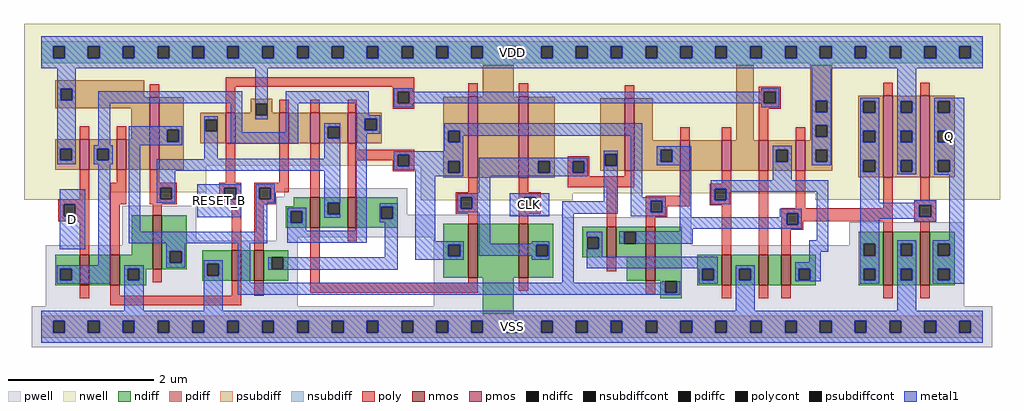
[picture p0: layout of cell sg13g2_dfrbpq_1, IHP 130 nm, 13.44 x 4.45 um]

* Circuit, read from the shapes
.subckt sg13g2_dfrbpq_1 CLK VSS D Q VDD RESET_B
XM1 n1 D n2 VSS sg13_lv_nmos w=0.42u l=0.13u
XM2 VSS RESET_B n1 VSS sg13_lv_nmos w=0.42u l=0.13u
XM3 n3 n4 VSS VSS sg13_lv_nmos w=0.74u l=0.13u
XM4 n5 RESET_B VSS VSS sg13_lv_nmos w=0.42u l=0.13u
XM5 n6 n3 n5 VSS sg13_lv_nmos w=0.42u l=0.13u
XM6 n4 n7 n2 VSS sg13_lv_nmos w=0.42u l=0.13u
XM7 n6 n8 n4 VSS sg13_lv_nmos w=0.42u l=0.13u
XM8 VSS n7 n8 VSS sg13_lv_nmos w=0.74u l=0.13u
XM9 n7 CLK VSS VSS sg13_lv_nmos w=0.74u l=0.13u
XM10 n9 n7 n10 VSS sg13_lv_nmos w=0.42u l=0.13u
XM11 n3 n8 n9 VSS sg13_lv_nmos w=0.74u l=0.13u
XM12 VSS n11 n10 VSS sg13_lv_nmos w=0.42u l=0.13u
XM13 n12 RESET_B VSS VSS sg13_lv_nmos w=0.42u l=0.13u
XM14 n11 n9 n12 VSS sg13_lv_nmos w=0.42u l=0.13u
XM15 VSS n9 n13 VSS sg13_lv_nmos w=0.74u l=0.13u
XM16 Q n13 VSS VSS sg13_lv_nmos w=0.74u l=0.13u
XM17 n2 D VDD VDD sg13_lv_pmos w=0.42u l=0.13u
XM18 VDD RESET_B n2 VDD sg13_lv_pmos w=0.42u l=0.13u
XM19 n3 n4 VDD VDD sg13_lv_pmos w=1u l=0.13u
XM20 VDD RESET_B n4 VDD sg13_lv_pmos w=0.42u l=0.13u
XM21 n14 n3 VDD VDD sg13_lv_pmos w=0.42u l=0.13u
XM22 n4 n7 n14 VDD sg13_lv_pmos w=0.42u l=0.13u
XM23 n2 n8 n4 VDD sg13_lv_pmos w=0.42u l=0.13u
XM24 VDD n7 n8 VDD sg13_lv_pmos w=1.12u l=0.13u
XM25 n7 CLK VDD VDD sg13_lv_pmos w=1.12u l=0.13u
XM26 n9 n7 n3 VDD sg13_lv_pmos w=1u l=0.13u
XM27 n15 n8 n9 VDD sg13_lv_pmos w=0.42u l=0.13u
XM28 VDD n11 n15 VDD sg13_lv_pmos w=0.42u l=0.13u
XM29 n11 RESET_B VDD VDD sg13_lv_pmos w=0.42u l=0.13u
XM30 VDD n9 n11 VDD sg13_lv_pmos w=0.42u l=0.13u
XM31 VDD n9 n13 VDD sg13_lv_pmos w=1.12u l=0.13u
XM32 Q n13 VDD VDD sg13_lv_pmos w=1.12u l=0.13u
.ends

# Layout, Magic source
magic
tech ihp-sg13g2
magscale 1 2
<< nwell >>
rect -48 443 2640 834
rect -48 370 454 443
rect -48 350 187 370
rect 1044 367 2640 443
rect 1044 348 1463 367
rect 2131 350 2640 367
<< pwell >>
rect 669 358 1008 382
rect 223 237 426 333
rect 647 309 1008 358
rect 647 301 1435 309
rect 647 246 1790 301
rect 647 237 706 246
rect 223 224 706 237
rect 12 56 706 224
rect 1081 224 1790 246
rect 2225 224 2541 288
rect 1081 56 2541 224
rect -26 -56 2618 56
<< nmos >>
rect 106 114 132 198
rect 190 114 216 198
rect 306 159 332 307
rect 741 272 767 356
rect 843 272 869 356
rect 524 127 550 211
rect 586 127 612 211
rect 1175 135 1201 283
rect 1315 135 1341 283
rect 1557 191 1583 275
rect 1664 127 1690 275
rect 1874 114 1900 198
rect 1976 114 2002 198
rect 2038 114 2064 198
rect 2319 114 2345 262
rect 2421 114 2447 262
<< pmos >>
rect 106 432 132 516
rect 208 432 234 516
rect 298 432 324 632
rect 508 505 534 589
rect 655 505 681 589
rect 741 505 767 589
rect 843 505 869 589
rect 1175 410 1201 634
rect 1315 410 1341 634
rect 1607 429 1633 629
rect 1759 429 1785 513
rect 1874 429 1900 513
rect 1976 429 2002 513
rect 2078 429 2104 513
rect 2319 412 2345 636
rect 2421 412 2447 636
<< ndiff >>
rect 249 198 306 307
rect 38 160 106 198
rect 38 128 52 160
rect 84 128 106 160
rect 38 114 106 128
rect 132 114 190 198
rect 216 160 306 198
rect 216 128 238 160
rect 270 159 306 160
rect 332 208 400 307
rect 695 332 741 356
rect 673 318 741 332
rect 673 286 687 318
rect 719 286 741 318
rect 673 272 741 286
rect 767 342 843 356
rect 767 310 789 342
rect 821 310 843 342
rect 767 272 843 310
rect 869 330 982 356
rect 869 298 936 330
rect 968 298 982 330
rect 869 272 982 298
rect 332 176 354 208
rect 386 176 400 208
rect 332 159 400 176
rect 443 173 524 211
rect 270 128 289 159
rect 216 114 289 128
rect 443 141 457 173
rect 489 141 524 173
rect 443 127 524 141
rect 550 127 586 211
rect 612 191 680 211
rect 612 159 634 191
rect 666 159 680 191
rect 612 127 680 159
rect 1107 226 1175 283
rect 1107 194 1121 226
rect 1153 194 1175 226
rect 1107 135 1175 194
rect 1201 135 1315 283
rect 1341 226 1409 283
rect 1341 194 1363 226
rect 1395 194 1409 226
rect 1341 135 1409 194
rect 1489 247 1557 275
rect 1489 215 1503 247
rect 1535 215 1557 247
rect 1489 191 1557 215
rect 1583 261 1664 275
rect 1583 229 1605 261
rect 1637 229 1664 261
rect 1583 191 1664 229
rect 1215 36 1301 135
rect 1612 127 1664 191
rect 1690 127 1764 275
rect 2251 228 2319 262
rect 1704 125 1764 127
rect 1704 93 1718 125
rect 1750 93 1764 125
rect 1806 160 1874 198
rect 1806 128 1820 160
rect 1852 128 1874 160
rect 1806 114 1874 128
rect 1900 160 1976 198
rect 1900 128 1922 160
rect 1954 128 1976 160
rect 1900 114 1976 128
rect 2002 114 2038 198
rect 2064 160 2132 198
rect 2064 128 2086 160
rect 2118 128 2132 160
rect 2064 114 2132 128
rect 2251 196 2265 228
rect 2297 196 2319 228
rect 2251 160 2319 196
rect 2251 128 2265 160
rect 2297 128 2319 160
rect 2251 114 2319 128
rect 2345 228 2421 262
rect 2345 196 2367 228
rect 2399 196 2421 228
rect 2345 160 2421 196
rect 2345 128 2367 160
rect 2399 128 2421 160
rect 2345 114 2421 128
rect 2447 228 2515 262
rect 2447 196 2469 228
rect 2501 196 2515 228
rect 2447 160 2515 196
rect 2447 128 2469 160
rect 2501 128 2515 160
rect 2447 114 2515 128
rect 1704 78 1764 93
<< pdiff >>
rect 38 656 283 679
rect 38 624 53 656
rect 85 632 283 656
rect 85 624 298 632
rect 38 602 298 624
rect 248 516 298 602
rect 38 490 106 516
rect 38 458 52 490
rect 84 458 106 490
rect 38 432 106 458
rect 132 490 208 516
rect 132 458 154 490
rect 186 458 208 490
rect 132 432 208 458
rect 234 432 298 516
rect 324 542 392 632
rect 576 614 636 628
rect 576 589 590 614
rect 324 510 346 542
rect 378 510 392 542
rect 324 432 392 510
rect 438 570 508 589
rect 438 538 452 570
rect 484 538 508 570
rect 438 505 508 538
rect 534 582 590 589
rect 622 589 636 614
rect 1215 634 1301 720
rect 622 582 655 589
rect 534 505 655 582
rect 681 505 741 589
rect 767 551 843 589
rect 767 519 789 551
rect 821 519 843 551
rect 767 505 843 519
rect 869 573 937 589
rect 869 541 891 573
rect 923 541 937 573
rect 869 505 937 541
rect 1106 540 1175 634
rect 1106 508 1120 540
rect 1152 508 1175 540
rect 1106 456 1175 508
rect 1106 424 1120 456
rect 1152 424 1175 456
rect 1106 410 1175 424
rect 1201 410 1315 634
rect 1341 456 1414 634
rect 1539 475 1607 629
rect 1341 424 1368 456
rect 1400 424 1414 456
rect 1341 410 1414 424
rect 1539 443 1553 475
rect 1585 443 1607 475
rect 1539 429 1607 443
rect 1633 513 1683 629
rect 1914 513 1962 720
rect 2118 623 2178 720
rect 2118 591 2132 623
rect 2164 591 2178 623
rect 2118 555 2178 591
rect 2118 523 2132 555
rect 2164 523 2178 555
rect 2118 513 2178 523
rect 1633 487 1759 513
rect 1633 455 1705 487
rect 1737 455 1759 487
rect 1633 429 1759 455
rect 1785 429 1874 513
rect 1900 429 1976 513
rect 2002 487 2078 513
rect 2002 455 2024 487
rect 2056 455 2078 487
rect 2002 429 2078 455
rect 2104 487 2178 513
rect 2104 455 2132 487
rect 2164 455 2178 487
rect 2104 429 2178 455
rect 2250 621 2319 636
rect 2250 589 2264 621
rect 2296 589 2319 621
rect 2250 540 2319 589
rect 2250 508 2264 540
rect 2296 508 2319 540
rect 2250 459 2319 508
rect 2250 427 2264 459
rect 2296 427 2319 459
rect 2250 412 2319 427
rect 2345 621 2421 636
rect 2345 589 2367 621
rect 2399 589 2421 621
rect 2345 540 2421 589
rect 2345 508 2367 540
rect 2399 508 2421 540
rect 2345 459 2421 508
rect 2345 427 2367 459
rect 2399 427 2421 459
rect 2345 412 2421 427
rect 2447 621 2515 636
rect 2447 589 2469 621
rect 2501 589 2515 621
rect 2447 540 2515 589
rect 2447 508 2469 540
rect 2501 508 2515 540
rect 2447 459 2515 508
rect 2447 427 2469 459
rect 2501 427 2515 459
rect 2447 412 2515 427
<< ndiffc >>
rect 52 128 84 160
rect 238 128 270 160
rect 687 286 719 318
rect 789 310 821 342
rect 936 298 968 330
rect 354 176 386 208
rect 457 141 489 173
rect 634 159 666 191
rect 1121 194 1153 226
rect 1363 194 1395 226
rect 1503 215 1535 247
rect 1605 229 1637 261
rect 1718 93 1750 125
rect 1820 128 1852 160
rect 1922 128 1954 160
rect 2086 128 2118 160
rect 2265 196 2297 228
rect 2265 128 2297 160
rect 2367 196 2399 228
rect 2367 128 2399 160
rect 2469 196 2501 228
rect 2469 128 2501 160
<< pdiffc >>
rect 53 624 85 656
rect 52 458 84 490
rect 154 458 186 490
rect 346 510 378 542
rect 452 538 484 570
rect 590 582 622 614
rect 789 519 821 551
rect 891 541 923 573
rect 1120 508 1152 540
rect 1120 424 1152 456
rect 1368 424 1400 456
rect 1553 443 1585 475
rect 2132 591 2164 623
rect 2132 523 2164 555
rect 1705 455 1737 487
rect 2024 455 2056 487
rect 2132 455 2164 487
rect 2264 589 2296 621
rect 2264 508 2296 540
rect 2264 427 2296 459
rect 2367 589 2399 621
rect 2367 508 2399 540
rect 2367 427 2399 459
rect 2469 589 2501 621
rect 2469 508 2501 540
rect 2469 427 2501 459
<< psubdiff >>
rect 1215 30 1301 36
rect 0 16 2592 30
rect 0 -16 32 16
rect 64 -16 128 16
rect 160 -16 224 16
rect 256 -16 320 16
rect 352 -16 416 16
rect 448 -16 512 16
rect 544 -16 608 16
rect 640 -16 704 16
rect 736 -16 800 16
rect 832 -16 896 16
rect 928 -16 992 16
rect 1024 -16 1088 16
rect 1120 -16 1184 16
rect 1216 -16 1280 16
rect 1312 -16 1376 16
rect 1408 -16 1472 16
rect 1504 -16 1568 16
rect 1600 -16 1664 16
rect 1696 -16 1760 16
rect 1792 -16 1856 16
rect 1888 -16 1952 16
rect 1984 -16 2048 16
rect 2080 -16 2144 16
rect 2176 -16 2240 16
rect 2272 -16 2336 16
rect 2368 -16 2432 16
rect 2464 -16 2528 16
rect 2560 -16 2592 16
rect 0 -30 2592 -16
<< nsubdiff >>
rect 0 772 2592 786
rect 0 740 32 772
rect 64 740 128 772
rect 160 740 224 772
rect 256 740 320 772
rect 352 740 416 772
rect 448 740 512 772
rect 544 740 608 772
rect 640 740 704 772
rect 736 740 800 772
rect 832 740 896 772
rect 928 740 992 772
rect 1024 740 1088 772
rect 1120 740 1184 772
rect 1216 740 1280 772
rect 1312 740 1376 772
rect 1408 740 1472 772
rect 1504 740 1568 772
rect 1600 740 1664 772
rect 1696 740 1760 772
rect 1792 740 1856 772
rect 1888 740 1952 772
rect 1984 740 2048 772
rect 2080 740 2144 772
rect 2176 740 2240 772
rect 2272 740 2336 772
rect 2368 740 2432 772
rect 2464 740 2528 772
rect 2560 740 2592 772
rect 0 726 2592 740
rect 1215 720 1301 726
rect 1914 720 1962 726
rect 2118 720 2178 726
<< psubdiffcont >>
rect 32 -16 64 16
rect 128 -16 160 16
rect 224 -16 256 16
rect 320 -16 352 16
rect 416 -16 448 16
rect 512 -16 544 16
rect 608 -16 640 16
rect 704 -16 736 16
rect 800 -16 832 16
rect 896 -16 928 16
rect 992 -16 1024 16
rect 1088 -16 1120 16
rect 1184 -16 1216 16
rect 1280 -16 1312 16
rect 1376 -16 1408 16
rect 1472 -16 1504 16
rect 1568 -16 1600 16
rect 1664 -16 1696 16
rect 1760 -16 1792 16
rect 1856 -16 1888 16
rect 1952 -16 1984 16
rect 2048 -16 2080 16
rect 2144 -16 2176 16
rect 2240 -16 2272 16
rect 2336 -16 2368 16
rect 2432 -16 2464 16
rect 2528 -16 2560 16
<< nsubdiffcont >>
rect 32 740 64 772
rect 128 740 160 772
rect 224 740 256 772
rect 320 740 352 772
rect 416 740 448 772
rect 512 740 544 772
rect 608 740 640 772
rect 704 740 736 772
rect 800 740 832 772
rect 896 740 928 772
rect 992 740 1024 772
rect 1088 740 1120 772
rect 1184 740 1216 772
rect 1280 740 1312 772
rect 1376 740 1408 772
rect 1472 740 1504 772
rect 1568 740 1600 772
rect 1664 740 1696 772
rect 1760 740 1792 772
rect 1856 740 1888 772
rect 1952 740 1984 772
rect 2048 740 2080 772
rect 2144 740 2176 772
rect 2240 740 2272 772
rect 2336 740 2368 772
rect 2432 740 2464 772
rect 2528 740 2560 772
<< poly >>
rect 298 632 324 668
rect 508 661 1027 687
rect 106 516 132 552
rect 208 516 234 552
rect 508 589 534 661
rect 967 647 1027 661
rect 655 589 681 625
rect 741 589 767 625
rect 843 589 869 625
rect 967 615 981 647
rect 1013 615 1027 647
rect 1175 634 1201 670
rect 1315 634 1341 670
rect 967 601 1027 615
rect 106 351 132 432
rect 208 396 234 432
rect 47 337 132 351
rect 47 305 61 337
rect 93 305 132 337
rect 47 291 132 305
rect 106 198 132 291
rect 190 337 234 396
rect 298 397 324 432
rect 508 397 534 505
rect 655 397 681 505
rect 298 383 373 397
rect 298 351 327 383
rect 359 351 373 383
rect 298 337 373 351
rect 490 383 550 397
rect 490 351 504 383
rect 536 351 550 383
rect 490 337 550 351
rect 190 198 216 337
rect 306 307 332 337
rect 524 211 550 337
rect 586 383 681 397
rect 586 351 600 383
rect 632 371 681 383
rect 632 351 646 371
rect 741 356 767 505
rect 843 488 869 505
rect 843 474 1027 488
rect 843 458 981 474
rect 843 356 869 458
rect 967 442 981 458
rect 1013 442 1027 474
rect 967 428 1027 442
rect 1607 629 1633 665
rect 1449 456 1509 470
rect 1449 424 1463 456
rect 1495 424 1509 456
rect 1759 513 1785 549
rect 1874 513 1900 549
rect 1976 647 2036 661
rect 1976 615 1990 647
rect 2022 615 2036 647
rect 1976 601 2036 615
rect 2319 636 2345 672
rect 2421 636 2447 672
rect 1976 513 2002 601
rect 2078 513 2104 549
rect 1449 414 1509 424
rect 1607 414 1633 429
rect 1175 371 1201 410
rect 1141 357 1201 371
rect 586 337 646 351
rect 586 211 612 337
rect 1141 325 1155 357
rect 1187 325 1201 357
rect 1141 311 1201 325
rect 1175 283 1201 311
rect 1315 371 1341 410
rect 1449 384 1633 414
rect 1315 357 1375 371
rect 1315 325 1329 357
rect 1361 325 1375 357
rect 1315 311 1375 325
rect 1315 283 1341 311
rect 306 123 332 159
rect 106 78 132 114
rect 190 86 216 114
rect 524 86 550 127
rect 190 59 550 86
rect 586 85 612 127
rect 741 121 767 272
rect 843 236 869 272
rect 1557 275 1583 384
rect 1759 361 1785 429
rect 1874 394 1900 429
rect 1664 347 1785 361
rect 1664 315 1678 347
rect 1710 332 1785 347
rect 1840 380 1900 394
rect 1840 348 1854 380
rect 1886 348 1900 380
rect 1840 334 1900 348
rect 1710 315 1724 332
rect 1664 301 1724 315
rect 1664 275 1690 301
rect 1557 153 1583 191
rect 1175 121 1201 135
rect 741 93 1201 121
rect 1315 99 1341 135
rect 1874 198 1900 334
rect 1976 198 2002 429
rect 2078 327 2104 429
rect 2319 327 2345 412
rect 2421 349 2447 412
rect 2038 313 2345 327
rect 2038 281 2052 313
rect 2084 290 2345 313
rect 2084 281 2098 290
rect 2038 267 2098 281
rect 2038 198 2064 267
rect 2319 262 2345 290
rect 2404 335 2464 349
rect 2404 303 2418 335
rect 2450 303 2464 335
rect 2404 289 2464 303
rect 2421 262 2447 289
rect 1664 89 1690 127
rect 1874 78 1900 114
rect 1976 78 2002 114
rect 2038 78 2064 114
rect 2319 78 2345 114
rect 2421 78 2447 114
<< polycont >>
rect 981 615 1013 647
rect 61 305 93 337
rect 327 351 359 383
rect 504 351 536 383
rect 600 351 632 383
rect 981 442 1013 474
rect 1463 424 1495 456
rect 1990 615 2022 647
rect 1155 325 1187 357
rect 1329 325 1361 357
rect 1678 315 1710 347
rect 1854 348 1886 380
rect 2052 281 2084 313
rect 2418 303 2450 335
<< metal1 >>
rect 0 772 2592 800
rect 0 740 32 772
rect 64 740 128 772
rect 160 740 224 772
rect 256 740 320 772
rect 352 740 416 772
rect 448 740 512 772
rect 544 740 608 772
rect 640 740 704 772
rect 736 740 800 772
rect 832 740 896 772
rect 928 740 992 772
rect 1024 740 1088 772
rect 1120 740 1184 772
rect 1216 740 1280 772
rect 1312 740 1376 772
rect 1408 740 1472 772
rect 1504 740 1568 772
rect 1600 740 1664 772
rect 1696 740 1760 772
rect 1792 740 1856 772
rect 1888 740 1952 772
rect 1984 740 2048 772
rect 2080 740 2144 772
rect 2176 740 2240 772
rect 2272 740 2336 772
rect 2368 740 2432 772
rect 2464 740 2528 772
rect 2560 740 2592 772
rect 0 712 2592 740
rect 43 656 95 712
rect 43 624 53 656
rect 85 624 95 656
rect 43 490 95 624
rect 157 616 553 648
rect 157 500 190 616
rect 449 570 485 580
rect 240 542 388 552
rect 240 510 346 542
rect 378 510 388 542
rect 240 500 388 510
rect 449 538 452 570
rect 484 538 485 570
rect 43 458 52 490
rect 84 458 95 490
rect 43 448 95 458
rect 144 490 196 500
rect 144 458 154 490
rect 186 458 196 490
rect 144 448 196 458
rect 51 337 120 378
rect 51 305 61 337
rect 93 305 120 337
rect 51 214 120 305
rect 157 170 190 448
rect 240 262 272 500
rect 449 463 485 538
rect 521 536 553 616
rect 589 614 623 712
rect 589 582 590 614
rect 622 582 623 614
rect 589 572 623 582
rect 673 616 901 648
rect 673 536 707 616
rect 864 583 901 616
rect 971 647 1023 657
rect 1982 647 2032 657
rect 971 615 981 647
rect 1013 615 1990 647
rect 2022 615 2032 647
rect 971 605 1023 615
rect 1982 605 2032 615
rect 2122 623 2175 712
rect 2122 591 2132 623
rect 2164 591 2175 623
rect 864 573 933 583
rect 521 504 707 536
rect 779 551 823 561
rect 779 519 789 551
rect 821 519 823 551
rect 779 463 823 519
rect 449 461 823 463
rect 317 429 823 461
rect 317 383 369 429
rect 317 351 327 383
rect 359 351 369 383
rect 317 341 369 351
rect 429 383 550 393
rect 429 351 504 383
rect 536 351 550 383
rect 429 302 550 351
rect 590 383 642 393
rect 590 351 600 383
rect 632 351 642 383
rect 590 341 642 351
rect 779 342 823 429
rect 590 262 622 341
rect 240 230 622 262
rect 677 318 729 328
rect 677 286 687 318
rect 719 286 729 318
rect 779 310 789 342
rect 821 310 823 342
rect 779 300 823 310
rect 864 541 891 573
rect 923 541 933 573
rect 864 531 933 541
rect 1110 540 1655 560
rect 677 264 729 286
rect 864 264 896 531
rect 1110 508 1120 540
rect 1152 526 1655 540
rect 1152 508 1162 526
rect 1110 484 1162 508
rect 971 474 1162 484
rect 971 442 981 474
rect 1013 456 1162 474
rect 1549 475 1587 485
rect 1013 442 1120 456
rect 971 432 1120 442
rect 1029 424 1120 432
rect 1152 424 1162 456
rect 1029 414 1162 424
rect 1204 456 1505 466
rect 1204 424 1368 456
rect 1400 424 1463 456
rect 1495 424 1505 456
rect 1204 414 1505 424
rect 1549 443 1553 475
rect 1585 443 1587 475
rect 932 330 981 340
rect 932 298 936 330
rect 968 298 981 330
rect 932 288 981 298
rect 677 232 896 264
rect 344 208 396 230
rect 344 176 354 208
rect 386 176 396 208
rect 42 160 190 170
rect 42 128 52 160
rect 84 128 190 160
rect 42 118 190 128
rect 228 160 282 170
rect 344 163 396 176
rect 447 173 499 183
rect 228 128 238 160
rect 270 128 282 160
rect 228 44 282 128
rect 447 141 457 173
rect 489 141 499 173
rect 447 44 499 141
rect 541 121 575 230
rect 945 192 981 288
rect 624 191 981 192
rect 624 159 634 191
rect 666 159 981 191
rect 1029 236 1084 414
rect 1204 367 1236 414
rect 1145 357 1236 367
rect 1145 325 1155 357
rect 1187 325 1236 357
rect 1145 315 1236 325
rect 1029 226 1163 236
rect 1029 194 1121 226
rect 1153 194 1163 226
rect 1204 228 1236 315
rect 1290 357 1398 368
rect 1290 325 1329 357
rect 1361 325 1398 357
rect 1549 345 1587 443
rect 1290 304 1398 325
rect 1434 311 1587 345
rect 1623 357 1655 526
rect 2122 555 2175 591
rect 2122 523 2132 555
rect 2164 523 2175 555
rect 1695 487 1790 497
rect 1695 455 1705 487
rect 1737 455 1790 487
rect 1695 445 1790 455
rect 1623 347 1720 357
rect 1623 315 1678 347
rect 1710 315 1720 347
rect 1351 228 1398 236
rect 1204 226 1398 228
rect 1204 196 1363 226
rect 1029 184 1163 194
rect 1351 194 1363 196
rect 1395 194 1398 226
rect 1351 184 1398 194
rect 624 157 981 159
rect 1434 121 1466 311
rect 1623 305 1720 315
rect 1758 302 1790 445
rect 2014 487 2066 499
rect 2014 455 2024 487
rect 2056 455 2066 487
rect 2014 404 2066 455
rect 2122 487 2175 523
rect 2122 455 2132 487
rect 2164 455 2175 487
rect 2122 445 2175 455
rect 2255 621 2307 631
rect 2255 589 2264 621
rect 2296 589 2307 621
rect 2255 540 2307 589
rect 2255 508 2264 540
rect 2296 508 2307 540
rect 2255 459 2307 508
rect 2255 427 2264 459
rect 2296 427 2307 459
rect 1844 380 2167 404
rect 1844 348 1854 380
rect 1886 372 2167 380
rect 1886 348 1896 372
rect 1844 338 1896 348
rect 2033 313 2094 325
rect 2033 302 2052 313
rect 1758 281 2052 302
rect 2084 281 2094 313
rect 1758 270 2094 281
rect 1758 263 1794 270
rect 1502 247 1545 262
rect 1502 215 1503 247
rect 1535 215 1545 247
rect 1592 261 1794 263
rect 1592 229 1605 261
rect 1637 229 1794 261
rect 2135 238 2167 372
rect 1502 193 1545 215
rect 2114 206 2167 238
rect 2255 342 2307 427
rect 2357 621 2409 712
rect 2357 589 2367 621
rect 2399 589 2409 621
rect 2357 540 2409 589
rect 2357 508 2367 540
rect 2399 508 2409 540
rect 2357 459 2409 508
rect 2357 427 2367 459
rect 2399 427 2409 459
rect 2357 420 2409 427
rect 2459 621 2542 631
rect 2459 589 2469 621
rect 2501 589 2542 621
rect 2459 540 2542 589
rect 2459 508 2469 540
rect 2501 508 2542 540
rect 2459 459 2542 508
rect 2459 427 2469 459
rect 2501 427 2542 459
rect 2459 419 2542 427
rect 2404 342 2464 349
rect 2255 335 2464 342
rect 2255 303 2418 335
rect 2450 303 2464 335
rect 2255 297 2464 303
rect 2255 228 2307 297
rect 2404 289 2464 297
rect 2500 238 2542 419
rect 1502 161 1862 193
rect 2114 177 2146 206
rect 1810 160 1862 161
rect 1810 128 1820 160
rect 1852 128 1862 160
rect 1708 121 1718 125
rect 541 93 1718 121
rect 1750 93 1760 125
rect 1810 118 1862 128
rect 1912 160 1964 170
rect 1912 128 1922 160
rect 1954 128 1964 160
rect 541 88 1760 93
rect 1912 44 1964 128
rect 2076 160 2146 177
rect 2076 128 2086 160
rect 2118 128 2146 160
rect 2076 125 2146 128
rect 2255 196 2265 228
rect 2297 196 2307 228
rect 2255 160 2307 196
rect 2255 128 2265 160
rect 2297 128 2307 160
rect 2255 118 2307 128
rect 2357 228 2409 238
rect 2357 196 2367 228
rect 2399 196 2409 228
rect 2357 160 2409 196
rect 2357 128 2367 160
rect 2399 128 2409 160
rect 2357 44 2409 128
rect 2455 228 2542 238
rect 2455 196 2469 228
rect 2501 196 2542 228
rect 2455 160 2542 196
rect 2455 128 2469 160
rect 2501 128 2542 160
rect 2455 118 2542 128
rect 0 16 2592 44
rect 0 -16 32 16
rect 64 -16 128 16
rect 160 -16 224 16
rect 256 -16 320 16
rect 352 -16 416 16
rect 448 -16 512 16
rect 544 -16 608 16
rect 640 -16 704 16
rect 736 -16 800 16
rect 832 -16 896 16
rect 928 -16 992 16
rect 1024 -16 1088 16
rect 1120 -16 1184 16
rect 1216 -16 1280 16
rect 1312 -16 1376 16
rect 1408 -16 1472 16
rect 1504 -16 1568 16
rect 1600 -16 1664 16
rect 1696 -16 1760 16
rect 1792 -16 1856 16
rect 1888 -16 1952 16
rect 1984 -16 2048 16
rect 2080 -16 2144 16
rect 2176 -16 2240 16
rect 2272 -16 2336 16
rect 2368 -16 2432 16
rect 2464 -16 2528 16
rect 2560 -16 2592 16
rect 0 -44 2592 -16
<< labels >>
flabel metal1 s 1290 304 1398 368 0 FreeSans 400 0 0 0 CLK
port 2 nsew
flabel metal1 s 0 -44 2592 44 0 FreeSans 400 0 0 0 VSS
port 3 nsew
flabel metal1 s 51 214 120 378 0 FreeSans 340 0 0 0 D
port 4 nsew
flabel metal1 s 2459 419 2542 631 0 FreeSans 340 0 0 0 Q
port 5 nsew
flabel metal1 s 0 712 2592 800 0 FreeSans 400 0 0 0 VDD
port 6 nsew
flabel metal1 s 429 302 550 393 0 FreeSans 400 0 0 0 RESET_B
port 7 nsew
<< properties >>
string FIXED_BBOX 0 0 2592 756
string GDS_END 108338
string GDS_FILE 6_final.gds
string GDS_START 94454
<< end >>
